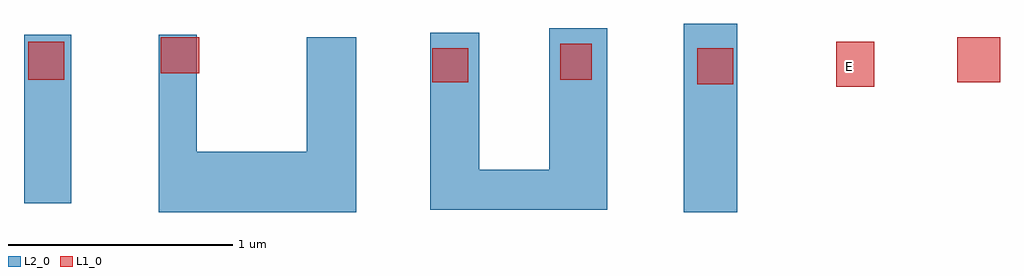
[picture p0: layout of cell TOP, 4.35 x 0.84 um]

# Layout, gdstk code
import gdstk
lib = gdstk.Library(unit=1e-6, precision=1e-09)
def R(c, l, rs):  # rectangles x0, y0, x1, y1
    for r in rs: c.add(gdstk.rectangle(r[:2], r[2:], *l))
L1_0 = (1, 0)
L2_0 = (2, 0)

child = lib.new_cell('CHILD')
R(child, L1_0, [(2.37,0.41,2.54,0.61), (1.75,0.42,1.91,0.58), (0.57,0.43,0.73,0.58), (2.91,0.43,3.1,0.63), (-1.23,0.44,-1.07,0.61), (1.14,0.44,1.28,0.6), (-0.64,0.47,-0.47,0.63)])
child.add(gdstk.Label('A', (-0.21,0.49), layer=1, texttype=0))
child.add(gdstk.Label('A', (-0.56,0.55), layer=1, texttype=0))
child.add(gdstk.Label('A', (0.11,0.49), layer=1, texttype=0))
child.add(gdstk.Label('B', (0.66,0.51), layer=1, texttype=0))
child.add(gdstk.Label('B', (1.22,0.52), layer=1, texttype=0))
child.add(gdstk.Label('C', (-1.16,0.53), layer=1, texttype=0))
child.add(gdstk.Label('D', (1.82,0.51), layer=1, texttype=0))

middle = lib.new_cell('MIDDLE')
r = gdstk.Reference(child, (0,0)); r.repetition = gdstk.Repetition(1, 1, v1=(0,0), v2=(0,0)); middle.add(r)
middle.add(gdstk.Label('B', (0.64,0.52), layer=1, texttype=0))
middle.add(gdstk.Label('B', (1.19,0.52), layer=1, texttype=0))
middle.add(gdstk.Label('F', (3,0.51), layer=1, texttype=0))

top = lib.new_cell('TOP')
R(top, L2_0, [(-0.68,-0.19,0.18,0.08), (-0.02,-0.19,0.2,0.59), (1.66,-0.19,1.9,0.65), (0.53,-0.18,0.75,0.61), (0.53,-0.18,1.32,0), (1.06,-0.18,1.32,0.63), (-0.68,-0.16,-0.51,0.6), (-1.28,-0.15,-1.07,0.6)])
r = gdstk.Reference(middle, (-0.03,-0.04)); r.repetition = gdstk.Repetition(1, 1, v1=(0,0), v2=(0,0)); top.add(r)
top.add(gdstk.Label('E', (2.4,0.46), layer=1, texttype=0))

lib.write_gds('TOP.gds')
